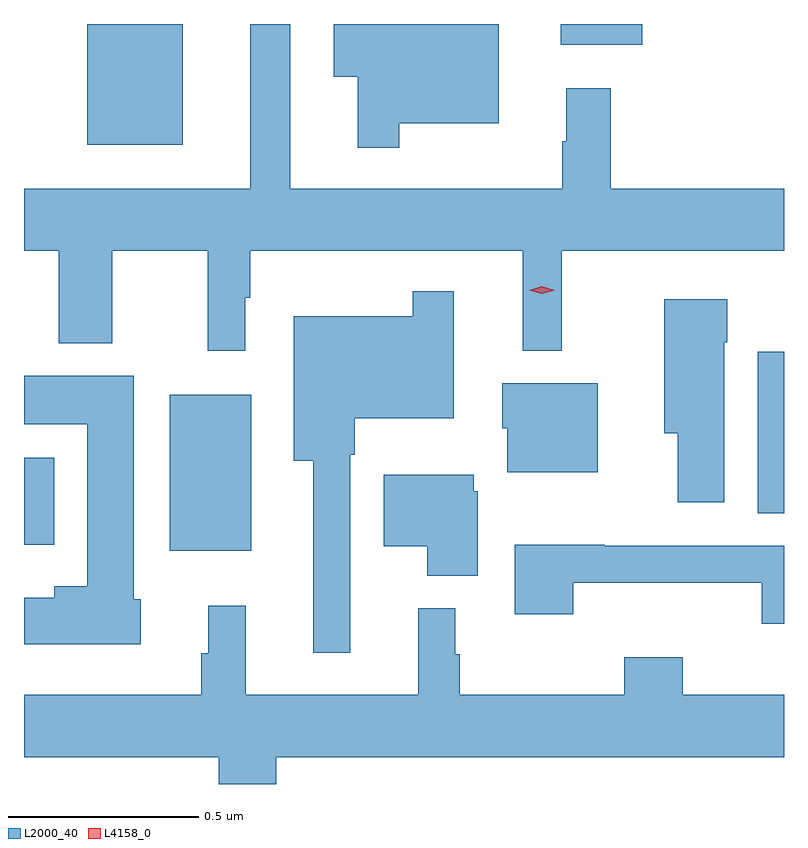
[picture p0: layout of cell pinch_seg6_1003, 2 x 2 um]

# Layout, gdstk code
import gdstk
lib = gdstk.Library(unit=1e-6, precision=1e-09)
def R(c, l, rs):  # rectangles x0, y0, x1, y1
    for r in rs: c.add(gdstk.rectangle(r[:2], r[2:], *l))
def P(c, l, *ps):  # polygons
    for p in ps: c.add(gdstk.Polygon(p, *l))
L2000_40 = (2000, 40)
L4158_0 = (4158, 0)

pinch_seg6_1003 = lib.new_cell('pinch_seg6_1003')
R(pinch_seg6_1003, L2000_40, [(301.442,923.903,301.657,924.313), (301.059,923.918,301.138,924.148), (302.99,924.001,303.059,924.427), (301.226,924.971,301.477,925.289), (302.471,925.235,302.686,925.289)])
P(pinch_seg6_1003, L2000_40, [(301.641,924.569),(301.654,924.569),(301.654,924.692),(302.372,924.692),(302.372,924.429),(302.474,924.429),(302.474,924.692),(303.059,924.692),(303.059,924.856),(302.603,924.856),(302.603,925.12),(302.486,925.12),(302.486,924.98),(302.475,924.98),(302.475,924.856),(301.759,924.856),(301.759,925.289),(301.655,925.289),(301.655,924.856),(301.059,924.856),(301.059,924.692),(301.151,924.692),(301.151,924.449),(301.291,924.449),(301.291,924.692),(301.543,924.692),(301.543,924.429),(301.641,924.429)],
  [(302.047,925.028),(302.308,925.028),(302.308,925.289),(301.874,925.289),(301.874,925.15),(301.937,925.15),(301.937,924.963),(302.047,924.963)],
  [(301.917,924.155),(301.93,924.155),(301.93,924.251),(302.19,924.251),(302.19,924.586),(302.082,924.586),(302.082,924.52),(301.769,924.52),(301.769,924.14),(301.82,924.14),(301.82,923.634),(301.917,923.634)],
  [(302.902,924.452),(302.91,924.452),(302.91,924.565),(302.744,924.565),(302.744,924.212),(302.78,924.212),(302.78,924.03),(302.902,924.03)],
  [(301.366,923.775),(301.348,923.775),(301.348,924.364),(301.059,924.364),(301.059,924.236),(301.226,924.236),(301.226,923.809),(301.139,923.809),(301.139,923.779),(301.059,923.779),(301.059,923.657),(301.366,923.657)],
  [(302.569,924.343),(302.318,924.343),(302.318,924.225),(302.331,924.225),(302.331,924.11),(302.569,924.11)],
  [(302.253,924.06),(302.242,924.06),(302.242,924.103),(302.006,924.103),(302.006,923.915),(302.12,923.915),(302.12,923.837),(302.253,923.837)],
  [(303.059,923.916),(302.587,923.916),(302.587,923.918),(302.351,923.918),(302.351,923.736),(302.504,923.736),(302.504,923.819),(303,923.819),(303,923.711),(303.059,923.711)],
  [(301.723,923.36),(303.059,923.36),(303.059,923.524),(302.793,923.524),(302.793,923.623),(302.638,923.623),(302.638,923.524),(302.206,923.524),(302.206,923.631),(302.194,923.631),(302.194,923.752),(302.096,923.752),(302.096,923.524),(301.643,923.524),(301.643,923.758),(301.544,923.758),(301.544,923.633),(301.525,923.633),(301.525,923.524),(301.059,923.524),(301.059,923.36),(301.571,923.36),(301.571,923.289),(301.723,923.289)])
P(pinch_seg6_1003, L4158_0, [(302.422,924.579),(302.389,924.589),(302.389,924.589),(302.389,924.589),(302.422,924.599),(302.456,924.589),(302.456,924.589),(302.456,924.589)])

lib.write_gds('pinch_seg6_1003.gds')
